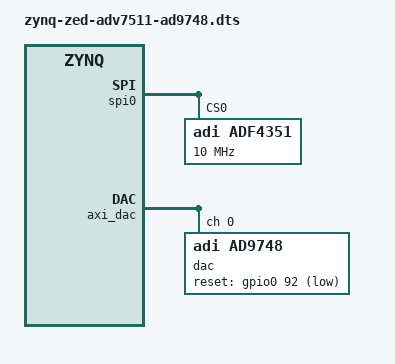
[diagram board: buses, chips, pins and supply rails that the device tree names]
// SPDX-License-Identifier: GPL-2.0
/* Copyright (C) 2025 Analog Devices Inc. */

/dts-v1/;

#include "zynq-zed.dtsi"
#include "zynq-zed-adv7511.dtsi"

/ {

	clocks {
		adf4351_clkin: clock@1 {
			#clock-cells = <0>;
			compatible = "fixed-clock";
			clock-frequency = <10000000>;
			clock-output-names = "refclk";
		};

		adf4351_clkout: clock@2 {
			#clock-cells = <0>;
			compatible = "fixed-clock";
			clock-frequency = <210000000>;
			clock-output-names = "adf4351_clkout";
		};
	};
};

&spi0 {
    status="okay";

   adf4351: adf4351@0 {
      compatible = "adi,adf4351";
      reg = <0>;

      spi-max-frequency = <10000000>;

      clocks = <&adf4351_clkin>;
      clock-names = "clkin";

      adi,channel-spacing = <10000>;
      adi,power-up-frequency = <210000000>;
      adi,phase-detector-polarity-positive-enable;
      adi,charge-pump-current = <2500>;
      adi,output-power = <0>;
      adi,aux-output-enable;
      adi,aux-output-power = <0>;
      adi,muxout-select = <6>;
    };
  };

&fpga_axi {

	dac_tx_dma: dma-controller@44a40000 {
		compatible = "adi,axi-dmac-1.00.a";
		reg = <0x44a40000 0x10000>;
		#dma-cells = <1>;
		interrupt-parent = <&intc>;
		interrupts = <0 57 IRQ_TYPE_LEVEL_HIGH>;
		clocks = <&clkc 15>;

		adi,channels {
			#size-cells = <0>;
			#address-cells = <1>;

			dma-channel@0 {
				reg = <0>;
				adi,source-bus-width = <32>;
				adi,source-bus-type = <0>;
				adi,destination-bus-width = <32>;
				adi,destination-bus-type = <1>;
			};
		};
	};

	axi_dac: axi-ad9740@44a70000 {
		compatible = "adi,axi-ad9740";
		reg = <0x44a70000 0x1000>;
		dmas = <&dac_tx_dma 0>;
		dma-names = "tx";
		#io-backend-cells = <0>;
		clocks = <&clkc 15>, <&adf4351_clkout>;
		clock-names = "s_axi_aclk", "dac_clk";

		#address-cells = <1>;
		#size-cells = <0>;

		dac@0 {
			reg = <0>;
			compatible = "adi,ad9748";
			reset-gpios = <&gpio0 92 GPIO_ACTIVE_LOW>;
			io-backends = <&axi_dac>;
			/* Data format: use offset binary (false) or 2's complement (true) */
			/* adi,twos-complement; */
		};
	};
};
